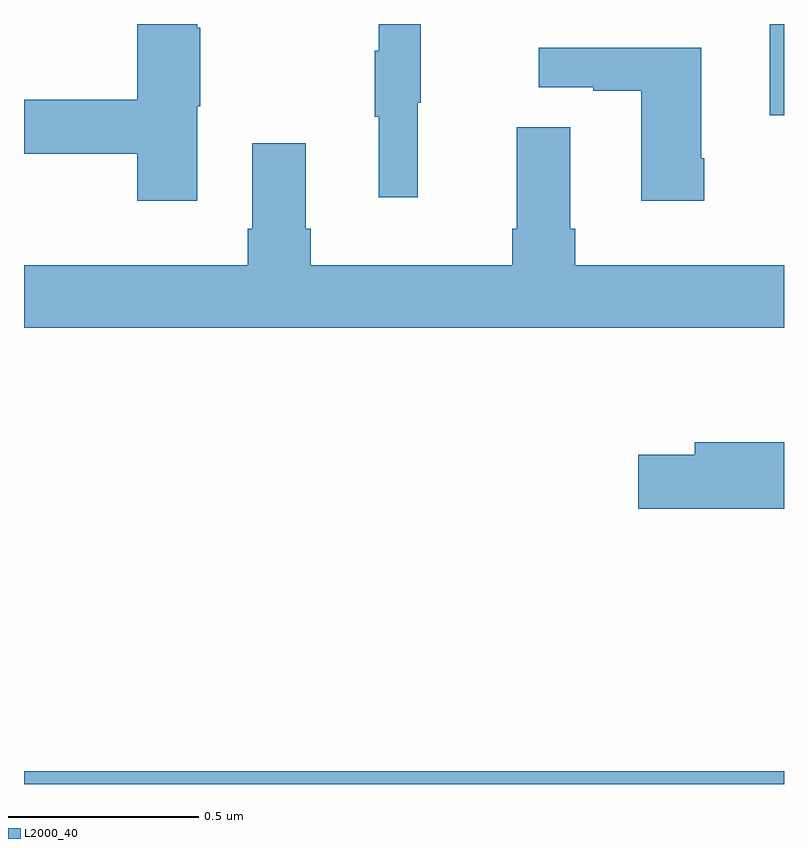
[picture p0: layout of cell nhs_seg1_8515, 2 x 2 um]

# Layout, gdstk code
import gdstk
lib = gdstk.Library(unit=1e-6, precision=1e-09)
def R(c, l, rs):  # rectangles x0, y0, x1, y1
    for r in rs: c.add(gdstk.rectangle(r[:2], r[2:], *l))
def P(c, l, *ps):  # polygons
    for p in ps: c.add(gdstk.Polygon(p, *l))
L2000_40 = (2000, 40)

nhs_seg1_8515 = lib.new_cell('nhs_seg1_8515')
R(nhs_seg1_8515, L2000_40, [(217,549.199,219,549.232), (218.963,550.959,219,551.199)])
P(nhs_seg1_8515, L2000_40, [(217.456,550.983),(217.464,550.983),(217.464,551.189),(217.456,551.189),(217.456,551.199),(217.298,551.199),(217.298,551),(217,551),(217,550.858),(217.298,550.858),(217.298,550.734),(217.456,550.734)],
  [(218.036,550.992),(218.044,550.992),(218.044,551.199),(217.934,551.199),(217.934,551.129),(217.923,551.129),(217.923,550.955),(217.934,550.955),(217.934,550.743),(218.036,550.743)],
  [(218.79,550.846),(218.782,550.846),(218.782,551.137),(218.355,551.137),(218.355,551.033),(218.498,551.033),(218.498,551.023),(218.624,551.023),(218.624,550.734),(218.79,550.734)],
  [(219,550.564),(218.45,550.564),(218.45,550.66),(218.437,550.66),(218.437,550.927),(218.297,550.927),(218.297,550.66),(218.285,550.66),(218.285,550.564),(217.754,550.564),(217.754,550.66),(217.741,550.66),(217.741,550.885),(217.601,550.885),(217.601,550.66),(217.589,550.66),(217.589,550.564),(217,550.564),(217,550.4),(219,550.4)],
  [(219,550.099),(218.765,550.099),(218.765,550.065),(218.616,550.065),(218.616,549.923),(219,549.923)])

lib.write_gds('nhs_seg1_8515.gds')
